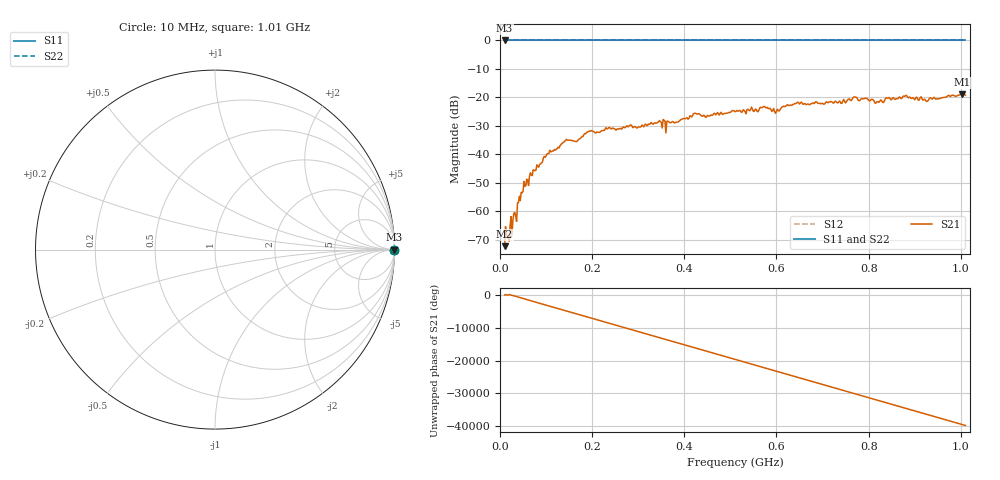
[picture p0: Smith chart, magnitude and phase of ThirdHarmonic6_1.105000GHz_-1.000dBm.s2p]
! 8/16/2025 10:26:59 AM
! C:\ANRITSUVNA\TEMP\TEMP.S2P
! CHANNEL.1
! TR.MEASUREMENT
! RAW.DATA
! RF.CORRECTION.OFF
! AVERAGING.OFF
! IF.BANDWIDTH: 5KHZ
! SWEEPTYPE:  FREQ.SWEEP(Linear)
! Reference Plane Port Info
! PORT:  PORT1  PORT2
! DISTANCE:  0  m  0  m
! TIME:  0  s  0  s
! PHASE.OFFSET:  0  deg.  0  deg.
! LOSS:  0  dB  0  dB
! REF.LOSS:  0  dB  0  dB
! REF.FREQ:  0  Hz  0  Hz
! Power Info
! POWER:  -20  dBm  -20  dBm
! EFF.POWER:  -20  dBm  -20  dBm
! SOURCE.ATTEN:  0  dB  0  dB
! TEST.ATTEN:  0  dB  0  dB
# GHZ S RI R 50.0
! FREQ.GHZ  S11RE  S11IM  S21RE  S21IM  S12RE  S12IM  S22RE  S22IM
!; PortSelection: Port_12
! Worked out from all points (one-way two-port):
!   501 points, 10 MHz to 1.01 GHz, reference 50 ohm
!   highest |S21| = -18.87 dB at 1.002 GHz (marker M1); lowest = -72.3 dB at 10 MHz (marker M2)
!   lowest |S11| = 0.0 dB at 10 MHz (marker M3)
!   |S11| at or under -10 dB: nowhere
!   |S22| runs from 0.0 to 0.0 dB; largest |S21 - S12| = 1.1
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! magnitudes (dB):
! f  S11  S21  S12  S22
! 10 MHz  0.0  -72.3  0.0  0.0
! 22 MHz  0.0  -64.9  0.0  0.0
! 50 MHz  0.0  -53.1  0.0  0.0
! 68 MHz  0.0  -47.3  0.0  0.0
! 106 MHz  0.0  -39.8  0.0  0.0
! 142 MHz  0.0  -35.3  0.0  0.0
! 178 MHz  0.0  -33.8  0.0  0.0
! 194 MHz  0.0  -31.8  0.0  0.0
! 344 MHz  0.0  -28.6  0.0  0.0
! 364 MHz  0.0  -28.4  0.0  0.0
! 424 MHz  0.0  -25.6  0.0  0.0
! 510 MHz  0.0  -25.0  0.0  0.0
! 570 MHz  0.0  -23.6  0.0  0.0
! 600 MHz  0.0  -25.0  0.0  0.0
! 644 MHz  0.0  -22.0  0.0  0.0
! 678 MHz  0.0  -22.0  0.0  0.0
! 770 MHz  0.0  -19.9  0.0  0.0
! 818 MHz  0.0  -21.5  0.0  0.0
! 844 MHz  0.0  -20.1  0.0  0.0
! 926 MHz  0.0  -21.5  0.0  0.0
! 1.002 GHz  0.0  -18.9  0.0  0.0
! 1.01 GHz  0.0  -19.2  0.0  0.0
